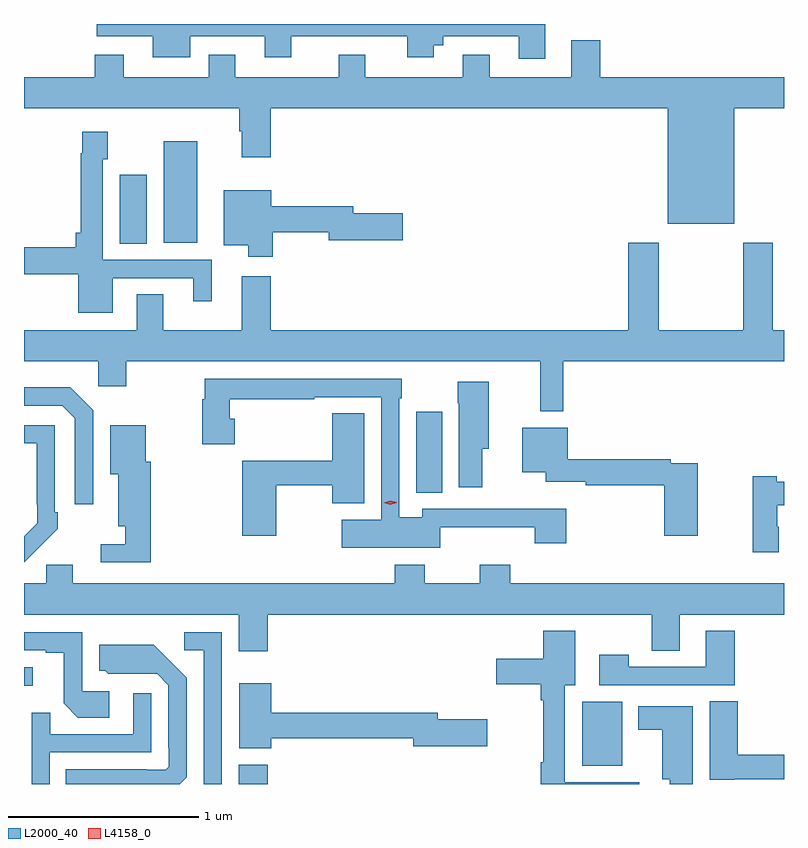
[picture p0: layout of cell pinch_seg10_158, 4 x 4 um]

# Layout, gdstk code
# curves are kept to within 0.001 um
import gdstk
lib = gdstk.Library(unit=1e-6, precision=1e-09)
def R(c, l, rs):  # rectangles x0, y0, x1, y1
    for r in rs: c.add(gdstk.rectangle(r[:2], r[2:], *l))
def P(c, l, *ps):  # polygons
    for p in ps: c.add(gdstk.Polygon(p, *l))
L2000_40 = (2000, 40)
L4158_0 = (4158, 0)

pinch_seg10_158 = lib.new_cell('pinch_seg10_158')
R(pinch_seg10_158, L2000_40, [(719.648,1282.108,719.801,1282.21), (721.454,1282.205,721.666,1282.54), (718.517,1282.625,718.564,1282.722), (720.581,1283.641,720.718,1284.067), (719.021,1284.952,719.164,1285.315), (719.252,1284.956,719.428,1285.492)])
P(pinch_seg10_158, L2000_40, [(721.261,1286.108),(718.9,1286.108),(718.9,1286.043),(719.195,1286.043),(719.195,1285.934),(719.392,1285.934),(719.392,1286.043),(719.783,1286.043),(719.783,1285.934),(719.923,1285.934),(719.923,1286.043),(720.533,1286.043),(720.533,1285.934),(720.673,1285.934),(720.673,1285.997),(720.724,1285.997),(720.724,1286.043),(721.121,1286.043),(721.121,1285.926),(721.261,1285.926)],
  [(721.55,1286.023),(721.397,1286.023),(721.397,1285.828),(720.967,1285.828),(720.967,1285.945),(720.827,1285.945),(720.827,1285.828),(720.313,1285.828),(720.313,1285.945),(720.173,1285.945),(720.173,1285.828),(719.629,1285.828),(719.629,1285.945),(719.489,1285.945),(719.489,1285.828),(719.041,1285.828),(719.041,1285.945),(718.889,1285.945),(718.889,1285.828),(718.517,1285.828),(718.517,1285.664),(719.651,1285.664),(719.651,1285.544),(719.663,1285.544),(719.663,1285.407),(719.816,1285.407),(719.816,1285.664),(721.904,1285.664),(721.904,1285.058),(722.254,1285.058),(722.254,1285.664),(722.517,1285.664),(722.517,1285.828),(721.55,1285.828)],
  [(718.984,1284.771),(719.408,1284.771),(719.408,1284.648),(719.506,1284.648),(719.506,1284.867),(718.932,1284.867),(718.932,1285.395),(718.959,1285.395),(718.959,1285.54),(718.824,1285.54),(718.824,1285.427),(718.816,1285.427),(718.816,1285.009),(718.79,1285.009),(718.79,1284.932),(718.517,1284.932),(718.517,1284.79),(718.802,1284.79),(718.802,1284.587),(718.984,1284.587)],
  [(719.826,1285.012),(720.122,1285.012),(720.122,1284.97),(720.511,1284.97),(720.511,1285.112),(720.25,1285.112),(720.25,1285.148),(719.818,1285.148),(719.818,1285.234),(719.567,1285.234),(719.567,1284.944),(719.696,1284.944),(719.696,1284.882),(719.826,1284.882)],
  [(721.355,1284.332),(722.517,1284.332),(722.517,1284.496),(722.457,1284.496),(722.457,1284.958),(722.302,1284.958),(722.302,1284.496),(721.857,1284.496),(721.857,1284.958),(721.697,1284.958),(721.697,1284.496),(719.816,1284.496),(719.816,1284.781),(719.663,1284.781),(719.663,1284.496),(719.251,1284.496),(719.251,1284.686),(719.111,1284.686),(719.111,1284.496),(718.517,1284.496),(718.517,1284.332),(718.908,1284.332),(718.908,1284.201),(719.055,1284.201),(719.055,1284.332),(721.234,1284.332),(721.234,1284.069),(721.355,1284.069)],
  [(720.708,1283.459),(721.205,1283.459),(721.205,1283.376),(721.37,1283.376),(721.37,1283.557),(721.121,1283.557),(721.121,1283.556),(720.612,1283.556),(720.612,1283.512),(720.492,1283.512),(720.492,1284.137),(720.505,1284.137),(720.505,1284.24),(719.467,1284.24),(719.467,1284.132),(719.456,1284.132),(719.456,1283.897),(719.627,1283.897),(719.627,1284.031),(719.599,1284.031),(719.599,1284.132),(720.044,1284.132),(720.044,1284.144),(720.396,1284.144),(720.396,1283.5),(720.189,1283.5),(720.189,1283.351),(720.708,1283.351)],
  [(720.928,1283.873),(720.964,1283.873),(720.964,1284.226),(720.799,1284.226),(720.799,1284.113),(720.806,1284.113),(720.806,1283.67),(720.928,1283.67)],
  [(718.881,1284.075),(718.76,1284.196),(718.517,1284.196),(718.517,1284.099),(718.719,1284.099),(718.785,1284.033),(718.785,1283.58),(718.881,1283.58)],
  [(719.844,1283.68),(720.14,1283.68),(720.14,1283.585),(720.307,1283.585),(720.307,1284.059),(720.14,1284.059),(720.14,1283.809),(719.666,1283.809),(719.666,1283.415),(719.844,1283.415)],
  [(718.589,1283.347),(718.59,1283.346),(718.695,1283.451),(718.695,1283.539),(718.68,1283.539),(718.68,1283.997),(718.517,1283.997),(718.517,1283.901),(718.584,1283.901),(718.584,1283.581),(718.587,1283.581),(718.587,1283.481),(718.517,1283.411),(718.517,1283.275)],
  [(719.183,1283.805),(719.158,1283.805),(719.158,1283.995),(718.97,1283.995),(718.97,1283.738),(719.012,1283.738),(719.012,1283.465),(719.049,1283.465),(719.049,1283.37),(718.92,1283.37),(718.92,1283.274),(719.183,1283.274)],
  [(722.064,1283.796),(721.922,1283.796),(721.922,1283.816),(721.378,1283.816),(721.378,1283.983),(721.139,1283.983),(721.139,1283.75),(721.262,1283.75),(721.262,1283.699),(721.474,1283.699),(721.474,1283.68),(721.886,1283.68),(721.886,1283.415),(722.064,1283.415)],
  [(722.49,1283.462),(722.482,1283.462),(722.482,1283.576),(722.517,1283.576),(722.517,1283.698),(722.478,1283.698),(722.478,1283.729),(722.353,1283.729),(722.353,1283.328),(722.49,1283.328)],
  [(718.635,1283.262),(718.635,1283.164),(718.517,1283.164),(718.517,1283),(719.648,1283),(719.648,1282.806),(719.801,1282.806),(719.801,1283),(721.822,1283),(721.822,1282.81),(721.969,1282.81),(721.969,1283),(722.517,1283),(722.517,1283.164),(721.076,1283.164),(721.076,1283.263),(720.916,1283.263),(720.916,1283.164),(720.627,1283.164),(720.627,1283.263),(720.467,1283.263),(720.467,1283.164),(718.774,1283.164),(718.774,1283.262)],
  [(721.756,1282.116),(721.363,1282.116),(721.363,1282.628),(721.417,1282.628),(721.417,1282.915),(721.25,1282.915),(721.25,1282.768),(721.002,1282.768),(721.002,1282.634),(721.238,1282.634),(721.238,1282.55),(721.25,1282.55),(721.25,1282.223),(721.238,1282.223),(721.238,1282.108),(721.756,1282.108)],
  [(722.258,1282.915),(722.105,1282.915),(722.105,1282.725),(721.701,1282.725),(721.701,1282.789),(721.545,1282.789),(721.545,1282.629),(722.258,1282.629)],
  [(718.966,1282.596),(718.824,1282.596),(718.824,1282.908),(718.517,1282.908),(718.517,1282.812),(718.631,1282.812),(718.631,1282.8),(718.725,1282.8),(718.725,1282.532),(718.801,1282.456),(718.966,1282.456)],
  [(719.559,1282.908),(719.361,1282.908),(719.361,1282.812),(719.463,1282.812),(719.463,1282.108),(719.559,1282.108)],
  [(719.373,1282.144),(719.373,1282.666),(719.201,1282.84),(718.913,1282.84),(718.913,1282.704),(718.944,1282.704),(718.96,1282.688),(719.217,1282.689),(719.277,1282.629),(719.277,1282.3),(719.28,1282.3),(719.28,1282.2),(719.262,1282.182),(719.162,1282.182),(719.162,1282.185),(718.738,1282.185),(718.738,1282.108),(719.337,1282.108)],
  [(719.818,1282.348),(720.566,1282.348),(720.566,1282.306),(720.955,1282.306),(720.955,1282.448),(720.694,1282.448),(720.694,1282.484),(719.818,1282.484),(719.818,1282.639),(719.651,1282.639),(719.651,1282.295),(719.818,1282.295)],
  [(718.653,1282.275),(719.187,1282.275),(719.187,1282.585),(719.091,1282.585),(719.091,1282.371),(718.655,1282.371),(718.655,1282.484),(718.557,1282.484),(718.557,1282.108),(718.653,1282.108)],
  [(722.256,1282.134),(722.517,1282.134),(722.517,1282.262),(722.273,1282.262),(722.273,1282.544),(722.126,1282.544),(722.126,1282.13),(722.256,1282.13)],
  [(722.038,1282.516),(721.751,1282.516),(721.751,1282.394),(721.877,1282.394),(721.877,1282.133),(721.916,1282.133),(721.916,1282.108),(722.038,1282.108)])
P(pinch_seg10_158, L4158_0, [(720.445,1283.578),(720.41,1283.587),(720.41,1283.587),(720.41,1283.587),(720.444,1283.598),(720.479,1283.59),(720.48,1283.59),(720.479,1283.589)])

lib.write_gds('pinch_seg10_158.gds')
